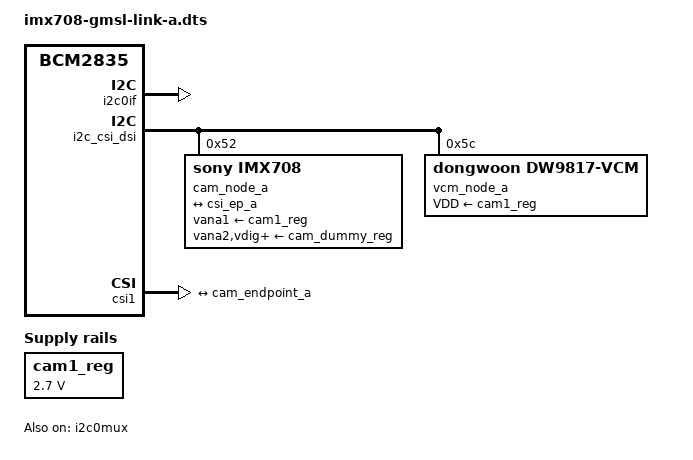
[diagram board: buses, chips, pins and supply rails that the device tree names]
// SPDX-License-Identifier: GPL-2.0-only
// Link-A IMX708 and DW9817 behind MAX96717 aliases 0x52 and 0x5c.
// Raspberry Pi 4 Model B: the two-lane camera connector uses CSI1/Unicam.
/dts-v1/;
/plugin/;

/ {
	compatible = "brcm,bcm2835";

	fragment@0 { target = <&i2c0if>; __overlay__ { status = "okay"; }; };
	clk_frag: fragment@1 { target = <&cam1_clk>; __overlay__ { status = "okay"; clock-frequency = <24000000>; }; };
	fragment@2 { target = <&i2c0mux>; __overlay__ { status = "okay"; }; };
	reg_frag: fragment@3 {
		target = <&cam1_reg>;
		cam_reg: __overlay__ {
			startup-delay-us = <70000>;
			off-on-delay-us = <30000>;
			regulator-min-microvolt = <2700000>;
			regulator-max-microvolt = <2700000>;
		};
	};

	i2c_frag: fragment@100 {
		target = <&i2c_csi_dsi>;
		__overlay__ {
			#address-cells = <1>;
			#size-cells = <0>;
			status = "okay";
			cam_node_a: imx708@52 {
				compatible = "sony,imx708";
				reg = <0x52>;
				status = "okay";
				clocks = <&cam1_clk>;
				clock-names = "inclk";
				vana1-supply = <&cam1_reg>;
				vana2-supply = <&cam_dummy_reg>;
				vdig-supply = <&cam_dummy_reg>;
				vddl-supply = <&cam_dummy_reg>;
				rotation = <180>;
				orientation = <2>;
				lens-focus = <&vcm_node_a>;
				port {
					cam_endpoint_a: endpoint {
						clock-lanes = <0>;
						data-lanes = <1 2>;
						clock-noncontinuous;
						link-frequencies = /bits/ 64 <450000000>;
						remote-endpoint = <&csi_ep_a>;
					};
				};
			};
			vcm_node_a: dw9817@5c {
				compatible = "dongwoon,dw9817-vcm";
				reg = <0x5c>;
				status = "okay";
				VDD-supply = <&cam1_reg>;
			};
		};
	};

	csi_frag: fragment@101 {
		target = <&csi1>;
		csi: __overlay__ {
			status = "okay";
			port {
				csi_ep_a: endpoint {
					remote-endpoint = <&cam_endpoint_a>;
					clock-lanes = <0>;
					data-lanes = <1 2>;
					clock-noncontinuous;
				};
			};
		};
	};
};
